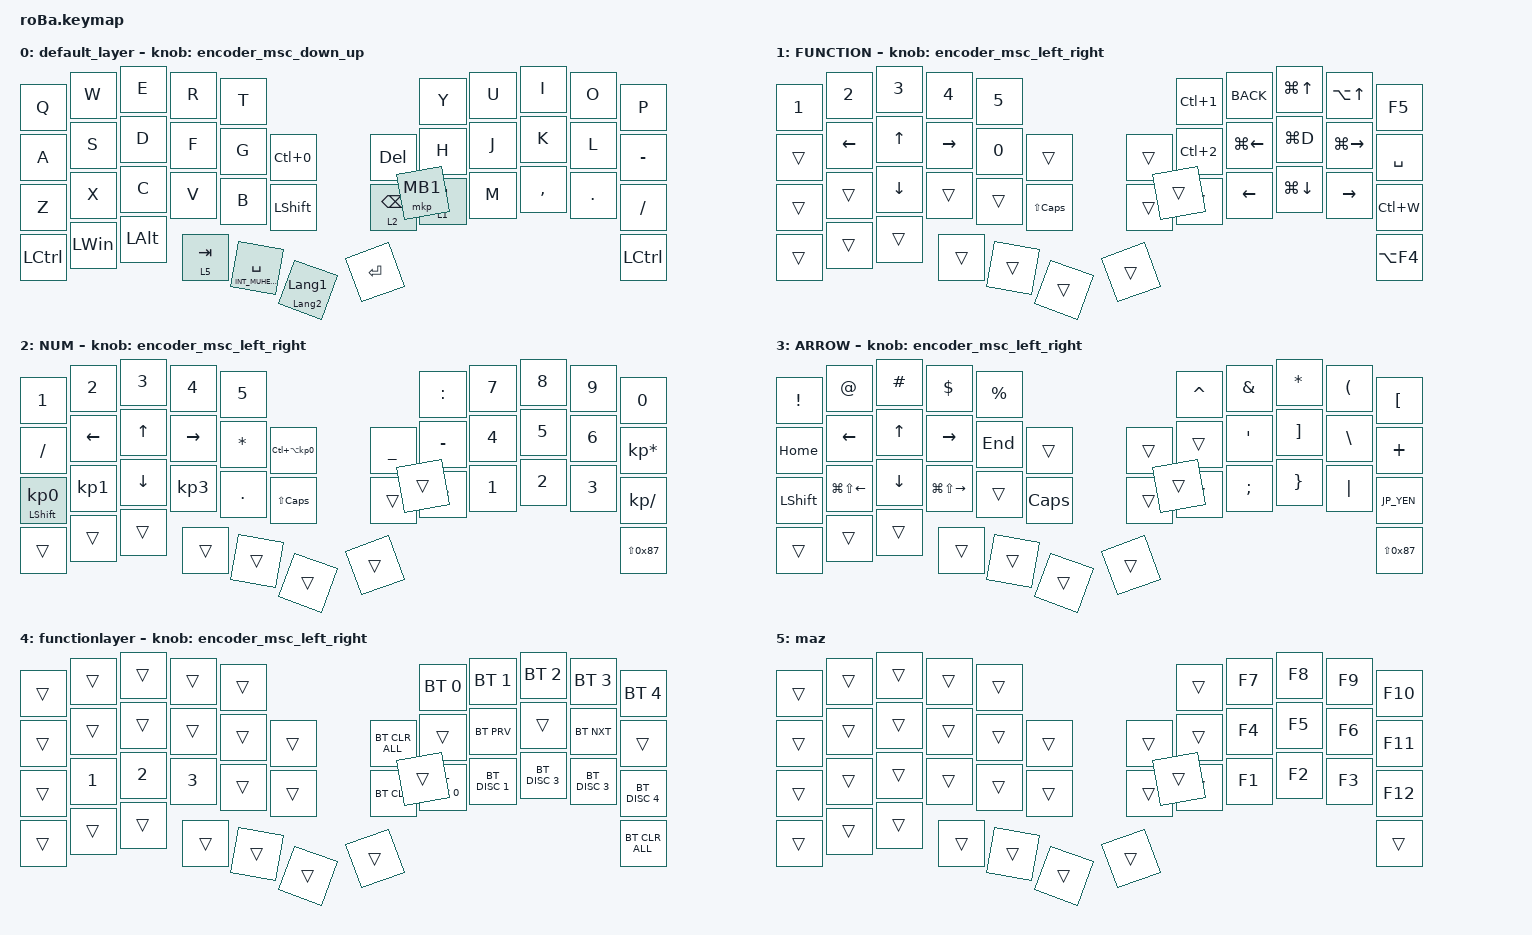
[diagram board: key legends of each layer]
#include <behaviors.dtsi>
#include <dt-bindings/zmk/bt.h>
#include <dt-bindings/zmk/keys.h>
#include <dt-bindings/zmk/pointing.h>

#define ZMK_POINTING_DEFAULT_SCRL_VAL 80

// OS設定を日本語キーボードのまま使用するための変換定義

#define JP_DQUOTE       AT                // "
#define JP_AMPERSAND    CARET             // &
#define JP_QUOTE        AMPERSAND         // '
#define JP_EQUAL        UNDER             // =
#define JP_CARET        EQUAL             // ^
#define JP_YEN          0x89              // ¥
#define JP_PLUS         COLON             // +
#define JP_TILDE        PLUS              // ~
#define JP_PIPE         LS(0x89)          // |
#define JP_AT           LEFT_BRACKET      // @
#define JP_COLON        SINGLE_QUOTE      // :
#define JP_ASTERISK     DOUBLE_QUOTES     // *
#define JP_BACKQUOTE    LEFT_BRACE        // `
#define JP_UNDERSCORE   LS(0x87)          // _
#define JP_LBRACKET     RIGHT_BRACKET     // [
#define JP_RBRACKET     BACKSLASH         // ]
#define JP_LPAREN       ASTERISK          // (
#define JP_RPAREN       LEFT_PARENTHESIS  // )
#define JP_LBRACE       RIGHT_BRACE       // {
#define JP_RBRACE       PIPE              // }
#define JP_KANA         LANGUAGE_1        // かな
#define JP_EISU         LANGUAGE_2        // 英数
#define JP_HANZEN       GRAVE             // 半角/全角

&trackball {
    automouse-layer = <4>;
    scroll-layers = <5>;

    // arrows {
    //     layers = <3>;
    //     bindings =
    //         <&kp RIGHT_ARROW>,
    //         <&kp LEFT_ARROW>,
    //         <&kp UP_ARROW>,
    //         <&kp DOWN_ARROW>;
    //     tick = <10>;
    //     wait-ms = <5>;
    //     tap-ms = <5>;
    // };
};

/ {
    combos {
        compatible = "zmk,combos";

        a {
            bindings = <&mkp MB1>;
            key-positions = <18 19>;
        };

        f {
            bindings = <&mkp MB2>;
            key-positions = <19 20>;
        };

        es {
            bindings = <&kp ESCAPE>;
            key-positions = <18 19 20>;
        };

        dfs {
            bindings = <&msc SCRL_UP>;
            key-positions = <6 7 8>;
        };

        dh {
            bindings = <&msc SCRL_DOWN>;
            key-positions = <30 31 32>;
        };

        wrty {
            bindings = <&kp LC(HOME)>;
            key-positions = <6 7 8 9>;
        };

        q3qr {
            bindings = <&kp LC(END)>;
            key-positions = <30 31 32 33>;
        };

        wt {
            bindings = <&kp LC(N0)>;
            key-positions = <18 19 20 21>;
        };

        jfdsa {
            bindings = <&kp LS(LG(S))>;
            key-positions = <10 11 12 13>;
        };

        arr {
            bindings = <&sl 3>;
            key-positions = <29 30>;
        };

        dfasdfas {
            bindings = <&sl 3>;
            key-positions = <26 25>;
        };

        zoom {
            bindings = <&kp LC(KP_PLUS)>;
            key-positions = <17 18 19>;
        };

        minus {
            bindings = <&kp LC(MINUS)>;
            key-positions = <29 30 31>;
        };

        buletooth {
            bindings = <&sl 4>;
            key-positions = <37 38 39>;
        };

        refresh {
            bindings = <&kp F5>;
            key-positions = <18 17 20 19>;
        };

        folder {
            bindings = <&kp LC(LS(N))>;
            key-positions = <29 30 31 32>;
        };

        new {
            bindings = <&kp LC(N)>;
            key-positions = <5 6 7 8>;
        };

        up {
            bindings = <&kp C_VOLUME_UP>;
            key-positions = <0 1 2 3>;
        };

        oolume {
            bindings = <&kp C_VOLUME_DOWN>;
            key-positions = <25 24 23 22>;
        };

        lkljklj {
            bindings = <&kp LC(PAGE_DOWN)>;
            key-positions = <8 7>;
        };

        jkoiunounn {
            bindings = <&kp LC(PAGE_UP)>;
            key-positions = <6 7>;
        };

        save2 {
            bindings = <&kp LS(LC(S))>;
            key-positions = <1 2>;
        };

        save {
            bindings = <&kp F12>;
            key-positions = <11 12>;
        };

        office {
            bindings = <&kp LC(F1)>;
            key-positions = <1 2 3>;
        };

        short {
            bindings = <&kp LA(LC(NUMBER_4))>;
            key-positions = <6 7 8 9 29>;
        };

        sho {
            bindings = <&kp LA(LC(NUMBER_3))>;
            key-positions = <29 18 19 20 21>;
        };

        shok {
            bindings = <&kp LA(LC(NUMBER_2))>;
            key-positions = <29 30 31 32 33>;
        };

        rota {
            bindings = <&kp LC(LS(MINUS))>;
            key-positions = <10 11 12>;
        };

        rotawe {
            bindings = <&kp LC(LS(KP_PLUS))>;
            key-positions = <11 12 13>;
        };
    };

    behaviors {
        encoder_msc_down_up: encoder_msc_down_up {
            compatible = "zmk,behavior-sensor-rotate";
            label = "ENCODER_MSC_DOWN_UP";
            #sensor-binding-cells = <0>;
            bindings = <&msc SCRL_UP>, <&msc SCRL_DOWN>;

            tap-ms = <20>;
        };

        encoder_msc_left_right: encoder_msc_left_right {
            compatible = "zmk,behavior-sensor-rotate";
            label = "ENCODER_MSC_LEFT_RIGHT";
            #sensor-binding-cells = <0>;
            bindings = <&msc SCRL_LEFT>, <&msc SCRL_RIGHT>;

            tap-ms = <20>;
        };
    };

    keymap {
        compatible = "zmk,keymap";

        default_layer {
            bindings = <
&kp Q      &kp W         &kp E         &kp R      &kp T                                                                   &kp Y     &kp U  &kp I      &kp O       &kp P
&kp A      &kp S         &kp D         &kp F      &kp G                   &kp LC(N0)                     &kp DEL          &kp H     &kp J  &kp K      &kp L       &kp MINUS
&kp Z      &kp X         &kp C         &kp V      &kp B                   &kp LEFT_SHIFT                 &lt 2 BACKSPACE  &lt 1 N   &kp M  &kp COMMA  &kp PERIOD  &kp SLASH
&kp LCTRL  &kp LEFT_WIN  &kp LEFT_ALT  &lt 5 TAB  &mt INT_MUHENKAN SPACE  &mt LANGUAGE_2 LANGUAGE_1      &kp ENTER        &mkp MB1                                &kp LEFT_CONTROL
            >;

            sensor-bindings = <&encoder_msc_down_up>;
        };

        FUNCTION {
            bindings = <
&kp NUMBER_1  &kp NUMBER_2    &kp NUMBER_3    &kp NUMBER_4     &kp N5                            &kp LC(NUMBER_1)  &kp K_BACK          &kp LG(UP_ARROW)    &kp LA(UP_ARROW)     &kp F5
&trans        &kp LEFT_ARROW  &kp UP_ARROW    &kp RIGHT_ARROW  &kp N0  &trans            &trans  &kp LC(NUMBER_2)  &kp LG(LEFT_ARROW)  &kp LG(D)           &kp LG(RIGHT_ARROW)  &kp SPACE
&trans        &trans          &kp DOWN_ARROW  &trans           &trans  &kp LS(CAPS)      &trans  &trans            &kp LEFT_ARROW      &kp LG(DOWN_ARROW)  &kp RIGHT_ARROW      &kp LC(W)
&trans        &trans          &trans          &trans           &trans  &trans            &trans  &trans                                                                         &kp LA(F4)
            >;

            sensor-bindings = <&encoder_msc_left_right>;
        };

        NUM {
            bindings = <
&kp NUMBER_1                &kp NUMBER_2     &kp NUMBER_3    &kp NUMBER_4     &kp N5                                                     &kp JP_PLUS  &kp N7        &kp N8        &kp N9        &kp N0
&kp SLASH                   &kp LEFT_ARROW   &kp UP_ARROW    &kp RIGHT_ARROW  &kp ASTERISK  &kp LC(LA(KP_NUMBER_0))      &kp UNDERSCORE  &kp MINUS    &kp NUMBER_4  &kp N5        &kp NUMBER_6  &kp KP_MULTIPLY
&mt LEFT_SHIFT KP_NUMBER_0  &kp KP_NUMBER_1  &kp DOWN_ARROW  &kp KP_NUMBER_3  &kp PERIOD    &kp LS(CAPS)                 &trans          &kp EQUAL    &kp NUMBER_1  &kp NUMBER_2  &kp NUMBER_3  &kp KP_DIVIDE
&trans                      &trans           &trans          &trans           &trans        &trans                       &trans          &trans                                                 &kp JP_UNDERSCORE
            >;

            sensor-bindings = <&encoder_msc_left_right>;
        };

        ARROW {
            bindings = <
&kp EXCLAMATION  &kp JP_DQUOTE           &kp HASH        &kp DOLLAR               &kp PERCENT                        &kp JP_AMPERSAND  &kp JP_QUOTE  &kp JP_LPAREN    &kp JP_RPAREN    &kp JP_AT
&kp HOME         &kp LEFT_ARROW          &kp UP_ARROW    &kp RIGHT_ARROW          &kp END      &trans        &trans  &trans            &kp JP_COLON  &kp JP_LBRACKET  &kp JP_RBRACKET  &kp JP_TILDE
&kp LEFT_SHIFT   &kp LG(LS(LEFT_ARROW))  &kp DOWN_ARROW  &kp LG(LS(RIGHT_ARROW))  &trans       &kp CAPS      &trans  &trans            &kp SEMI      &kp JP_LBRACE    &kp JP_RBRACE    &kp JP_YEN
&trans           &trans                  &trans          &trans                   &trans       &trans        &trans  &trans                                                            &kp JP_UNDERSCORE
            >;

            sensor-bindings = <&encoder_msc_left_right>;
        };

        functionlayer {
            bindings = <
&trans  &trans        &trans        &trans        &trans                              &bt BT_SEL 0   &bt BT_SEL 1   &bt BT_SEL 2   &bt BT_SEL 3   &bt BT_SEL 4
&trans  &trans        &trans        &trans        &trans  &trans      &bt BT_CLR_ALL  &trans         &bt BT_PRV     &trans         &bt BT_NXT     &trans
&trans  &kp NUMBER_1  &kp NUMBER_2  &kp NUMBER_3  &trans  &trans      &bt BT_CLR      &bt BT_DISC 0  &bt BT_DISC 1  &bt BT_DISC 3  &bt BT_DISC 3  &bt BT_DISC 4
&trans  &trans        &trans        &trans        &trans  &trans      &trans          &trans                                                      &bt BT_CLR_ALL
            >;

            sensor-bindings = <&encoder_msc_left_right>;
        };

        maz {
            bindings = <
&trans  &trans  &trans  &trans  &trans                      &trans  &kp F7  &kp F8  &kp F9  &kp F10
&trans  &trans  &trans  &trans  &trans  &trans      &trans  &trans  &kp F4  &kp F5  &kp F6  &kp F11
&trans  &trans  &trans  &trans  &trans  &trans      &trans  &trans  &kp F1  &kp F2  &kp F3  &kp F12
&trans  &trans  &trans  &trans  &trans  &trans      &trans  &trans                          &trans
            >;
        };
    };
};
